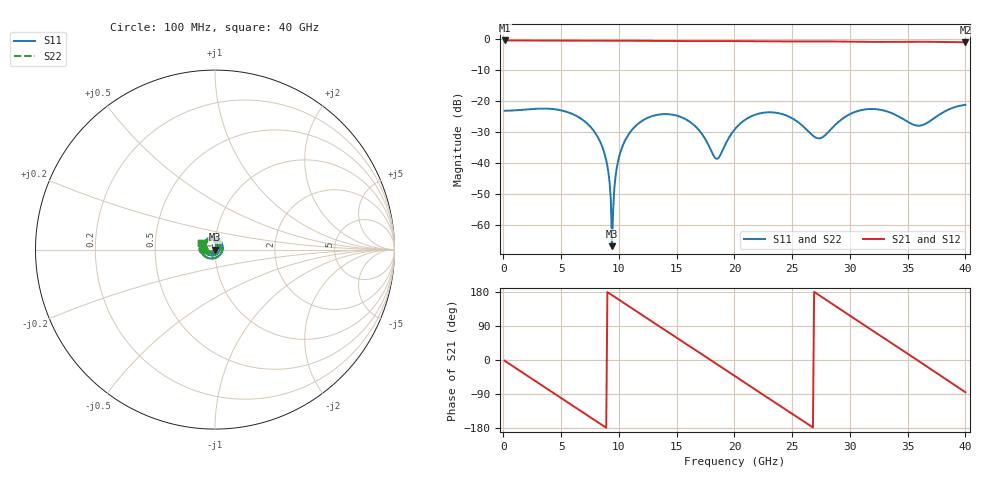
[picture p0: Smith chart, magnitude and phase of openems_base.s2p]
! thru_s8x4_L3: 2×thru, L3, 8 mm
! stackup: 8-layer 1.6 mm FR-4 without the L4 plane
! ports: 1, 2
! openEMS 0.37.0, staircase, base mesh (dfine 0.035 mm), 413725 cells
# Hz S RI R 50
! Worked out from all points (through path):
!   400 points, 100 MHz to 40 GHz, reference 50 ohm
!   highest |S21| = -0.62 dB at 100 MHz (marker M1); lowest = -1.2 dB at 40 GHz (marker M2)
!   group delay of S21, straight-line fit = 55.9 ps
!   lowest |S11| = -66.7 dB at 9.4 GHz (marker M3), VSWR 1.00, Z = 50 + j0.0159 ohm
!   |S11| at or under -10 dB: start of sweep to end of sweep
!   |S22| runs from -66.7 to -21.3 dB; largest |S21 - S12| = 0
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1e8  -0.069 0.000639  0.9304 -0.0327  0.9304 -0.0327  -0.069 0.000639
1.7e9  -0.0706 0.0131  0.7687 -0.524  0.7687 -0.524  -0.0706 0.0131
3.7e9  -0.0639 0.0389  0.2469 -0.8936  0.2469 -0.8936  -0.0639 0.0389
6.8e9  -0.0094 0.0494  -0.6711 -0.634  -0.6711 -0.634  -0.0094 0.0494
8.1e9  0.00617 0.0267  -0.8819 -0.2745  -0.8819 -0.2745  0.00617 0.0267
8.9e9  0.00534 0.00963  -0.9236 -0.0191  -0.9236 -0.0191  0.00534 0.00963
9.3e9  0.00166 0.00191  -0.9169 0.1107  -0.9169 0.1107  0.00166 0.00191
9.4e9  0.000432 0.000159  -0.9124 0.1429  -0.9124 0.1429  0.000432 0.000159
9.6e9  -0.00237 -0.00306  -0.8999 0.2068  -0.8999 0.2068  -0.00237 -0.00306
1.02e10  -0.013 -0.00996  -0.8357 0.3907  -0.8357 0.3907  -0.013 -0.00996
1.15e10  -0.0396 -0.0073  -0.5749 0.7168  -0.5749 0.7168  -0.0396 -0.0073
1.34e10  -0.052 0.0295  -0.0108 0.9122  -0.0108 0.9122  -0.052 0.0295
1.63e10  0.00534 0.0433  0.7647 0.494  0.7647 0.494  0.00534 0.0433
1.85e10  0.00851 -0.00795  0.8938 -0.1815  0.8938 -0.1815  0.00851 -0.00795
2.01e10  -0.0307 -0.0188  0.6548 -0.6295  0.6548 -0.6295  -0.0307 -0.0188
2.32e10  -0.04 0.0515  -0.2462 -0.8621  -0.2462 -0.8621  -0.04 0.0515
2.67e10  0.0284 0.00225  -0.8979 -0.0612  -0.8979 -0.0612  0.0284 0.00225
2.84e10  -0.0135 -0.0328  -0.7723 0.4585  -0.7723 0.4585  -0.0135 -0.0328
3.03e10  -0.0645 0.00274  -0.3166 0.831  -0.3166 0.831  -0.0645 0.00274
3.34e10  0.00452 0.0654  0.5801 0.6659  0.5801 0.6659  0.00452 0.0654
3.65e10  0.0168 -0.0387  0.8609 -0.2154  0.8609 -0.2154  0.0168 -0.0387
4e10  -0.0781 0.0357  0.0741 -0.8669  0.0741 -0.8669  -0.0781 0.0357
